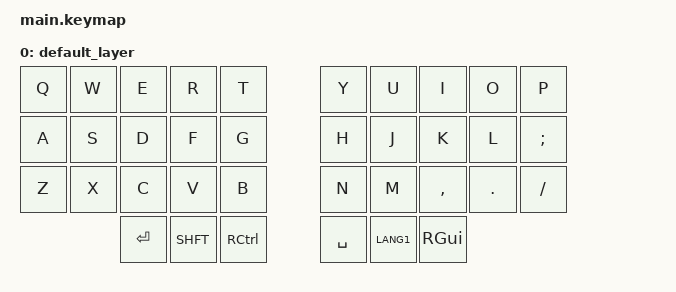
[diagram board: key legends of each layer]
/* -*- mode: c -*-
 * Copyright (c) 2021 The ZMK Contributors
 *
 * SPDX-License-Identifier: MIT
 */

#include <behaviors.dtsi>
#include <dt-bindings/zmk/keys.h>
#include <dt-bindings/zmk/bt.h>
#include <dt-bindings/zmk/outputs.h>

#define SYMBOLS 1
#define MOVEMENT 2

#define L_SPC &lt SYMBOLS SPACE
#define R_RET &lt MOVEMENT RET

/ {

    combos {
      compatible = "zmk,combos";
      combo_esc {
        timeout-ms = <25>;
        key-positions = <6 7>;
        bindings = <&kp ESC>;
      };
      combo_enter {
        timeout-ms = <25>;
        key-positions = <16 17>;
        bindings = <&kp RET>;
      };
      combo_tab {
        timeout-ms = <25>;
        key-positions = <26 27>;
        bindings = <&kp TAB>;
      };
    };

    keymap {
        compatible = "zmk,keymap";

        default_layer {
            bindings = <
&kp Q     &kp W     &kp E     &kp R     &kp T            &kp Y     &kp U     &kp I     &kp O    &kp P   
&kp A     &kp S     &kp D     &kp F     &kp G            &kp H     &kp J     &kp K     &kp L    &kp SEMI
&kp Z     &kp X     &kp C     &kp V     &kp B            &kp N     &kp M     &kp COMMA &kp DOT  &kp FSLH
                    &kp RET  &kp SHFT &kp RCTRL        &kp SPACE   &kp LANG1 &kp RGUI
            >;
        };
    };
};
